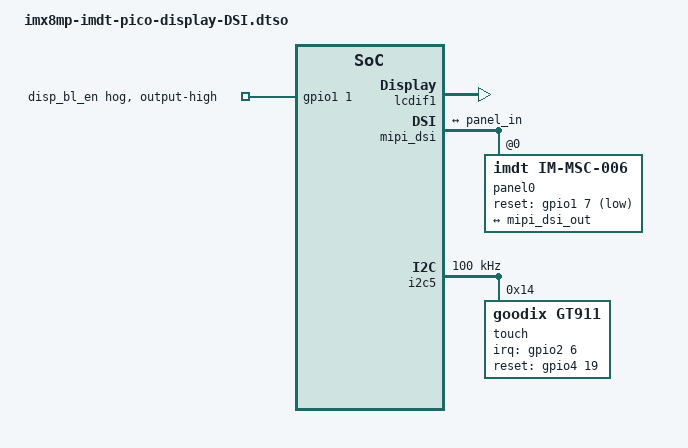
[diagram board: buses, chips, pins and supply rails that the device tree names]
// SPDX-License-Identifier: (GPL-2.0+ OR MIT)
/*
 * Copyright 2025 IMD Technologies
 */

/dts-v1/;
/plugin/;

#include <dt-bindings/gpio/gpio.h>
#include <dt-bindings/interrupt-controller/irq.h>
#include "imx8mp-pinfunc.h"

&lcdif1 {
	status = "okay";
};

&gpio1 {
	disp_bl_en {
		gpio-hog;
		gpios = <1 GPIO_ACTIVE_HIGH>;  /* GPIO1_IO01 */
		output-high;
		line-name = "disp_bl_en";
	};
};

&mipi_dsi {
	status = "okay";

	port@1 {
		reg = <1>;
		mipi_dsi_out: endpoint {
			remote-endpoint = <&panel_in>;
			data-lanes = <1 2 3 4>; /* physical lanes 1..4 are used */
		};
	};

	panel0: panel {
		compatible = "imdt,im-msc-006";
		reg = <0>;
		pinctrl-names = "default";
		pinctrl-0 = <&pinctrl_panel_reset>;
		reset-gpios = <&gpio1 7 GPIO_ACTIVE_LOW>;
		status = "okay";

		port {
			panel_in: endpoint {
				remote-endpoint = <&mipi_dsi_out>;
			};
		};
	};
};

&i2c5 {
	clock-frequency = <100000>;
	pinctrl-names = "default";
	pinctrl-0 = <&pinctrl_i2c5>;
	status = "okay";

	touch: gt911@14 {
		compatible = "goodix,gt911";
		reg = <0x14>;

		pinctrl-names = "default";
		pinctrl-0 = <&pinctrl_touchscreen>;
		interrupt-parent = <&gpio2>;
		interrupts = <6 IRQ_TYPE_EDGE_FALLING>;
		irq-gpios = <&gpio2 6 GPIO_ACTIVE_HIGH>;
		reset-gpios = <&gpio4 19 GPIO_ACTIVE_HIGH>;
		status = "okay";

	};
};

&iomuxc {

	pinctrl_panel_reset: panel_reset {
		fsl,pins = <
			MX8MP_IOMUXC_GPIO1_IO07__GPIO1_IO07 0x106
		>;
	};

	pinctrl_i2c5: i2c5grp {
		fsl,pins = <
			MX8MP_IOMUXC_HDMI_DDC_SCL__I2C5_SCL		0x400001c2
			MX8MP_IOMUXC_HDMI_DDC_SDA__I2C5_SDA		0x400001c2
		>;
	};

	pinctrl_touchscreen: touchscreen {
		fsl,pins = <
			MX8MP_IOMUXC_SAI1_TXD7__GPIO4_IO19 0x106 /* reset pin */
			MX8MP_IOMUXC_SD1_DATA4__GPIO2_IO06 0x100 /* input pin */
		>;
	};
};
